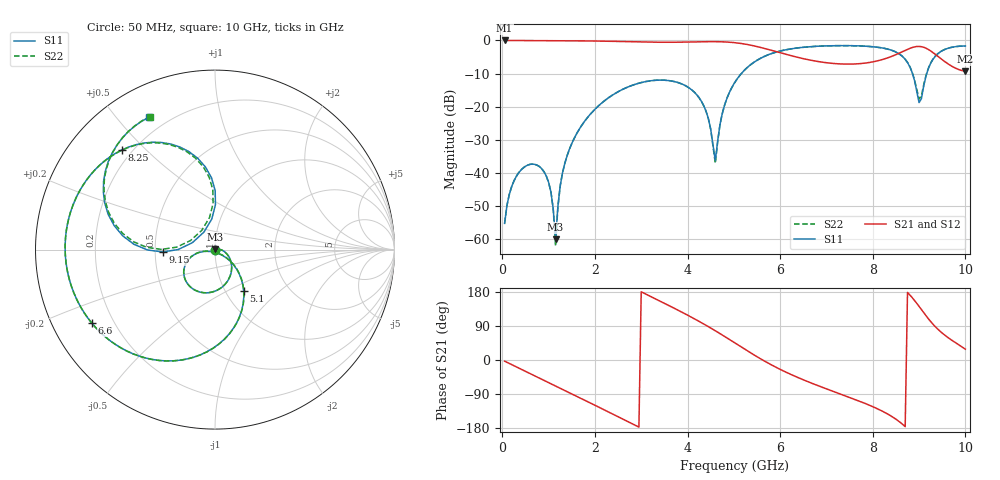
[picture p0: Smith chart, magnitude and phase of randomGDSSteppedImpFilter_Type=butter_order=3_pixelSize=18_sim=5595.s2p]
! freq	dB(S11)	phase(S11)	dB(S12)	phase(S12)
!  dB(S21)	phase(S21)	dB(S22)	phase(S22)
!S-par simulation data
#  GHz  S  DB  R 50
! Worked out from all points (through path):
!   200 points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, 50 MHz to 10 GHz, reference 50 ohm
!   highest |S21| = -0.01 dB at 50 MHz (marker M1); lowest = -9.3 dB at 10 GHz (marker M2)
!   group delay of S21, straight-line fit = 182 ps
!   lowest |S11| = -60.0 dB at 1.15 GHz (marker M3), VSWR 1.00, Z = 50 + j0.0867 ohm
!   |S11| at or under -10 dB: start of sweep to 5.163 GHz; 8.857 GHz to 9.166 GHz (308.7 MHz wide, 3.43 % of centre)
!   |S22| runs from -62.1 to -1.6 dB; largest |S21 - S12| = 0
!   S11 on the Smith chart (normalised r, x): 50 MHz: 1.00, -0.00; 5.1 GHz: 1.21, -0.60; 6.6 GHz: 0.12, -0.27; 8.25 GHz: 0.16, +0.43; 9.15 GHz: 0.55, -0.02; 10 GHz: 0.13, +0.61
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0.05  -55.23 -75.2  -0.01 -3.0  -0.01 -3.0  -55.23 -75.2
0.3  -41.10 -105.5  -0.03 -17.8  -0.03 -17.8  -41.10 -105.4
0.75  -37.64 -136.0  -0.06 -44.5  -0.06 -44.5  -37.64 -135.5
1.05  -45.70 -160.9  -0.07 -62.3  -0.07 -62.3  -45.75 -158.5
1.15  -60.03 119.5  -0.08 -68.2  -0.08 -68.2  -62.11 124.1
1.3  -40.01 18.2  -0.09 -77.2  -0.09 -77.2  -40.03 16.4
1.75  -24.94 -13.3  -0.13 -104.2  -0.13 -104.2  -24.94 -13.9
2.6  -14.76 -65.6  -0.34 -155.8  -0.34 -155.8  -14.76 -65.9
3.4  -11.97 -113.5  -0.55 155.8  -0.55 155.8  -11.97 -113.8
4.25  -17.30 -163.5  -0.41 101.9  -0.41 101.9  -17.31 -164.1
4.6  -36.32 -98.1  -0.37 77.2  -0.37 77.2  -37.12 -97.7
4.75  -22.05 -36.2  -0.41 66.0  -0.41 66.0  -22.09 -35.3
5.05  -12.05 -51.7  -0.72 42.9  -0.72 42.9  -12.05 -51.4
5.1  -11.07 -55.2  -0.81 39.0  -0.81 39.0  -11.07 -54.9
6.6  -1.94 -149.3  -5.80 -57.3  -5.80 -57.3  -1.94 -149.2
6.7  -1.84 -154.1  -6.08 -62.1  -6.08 -62.1  -1.84 -154.0
8.25  -2.39 132.9  -5.59 -137.8  -5.59 -137.8  -2.38 133.4
8.35  -2.72 126.8  -5.12 -144.6  -5.12 -144.6  -2.72 127.4
9  -18.76 122.5  -1.81 141.4  -1.81 141.4  -17.71 124.4
9.15  -10.70 -177.4  -2.35 116.7  -2.35 116.7  -10.51 179.8
9.5  -3.10 152.7  -5.82 70.9  -5.82 70.9  -3.08 151.8
10  -1.68 116.4  -9.27 28.5  -9.27 28.5  -1.67 116.2
